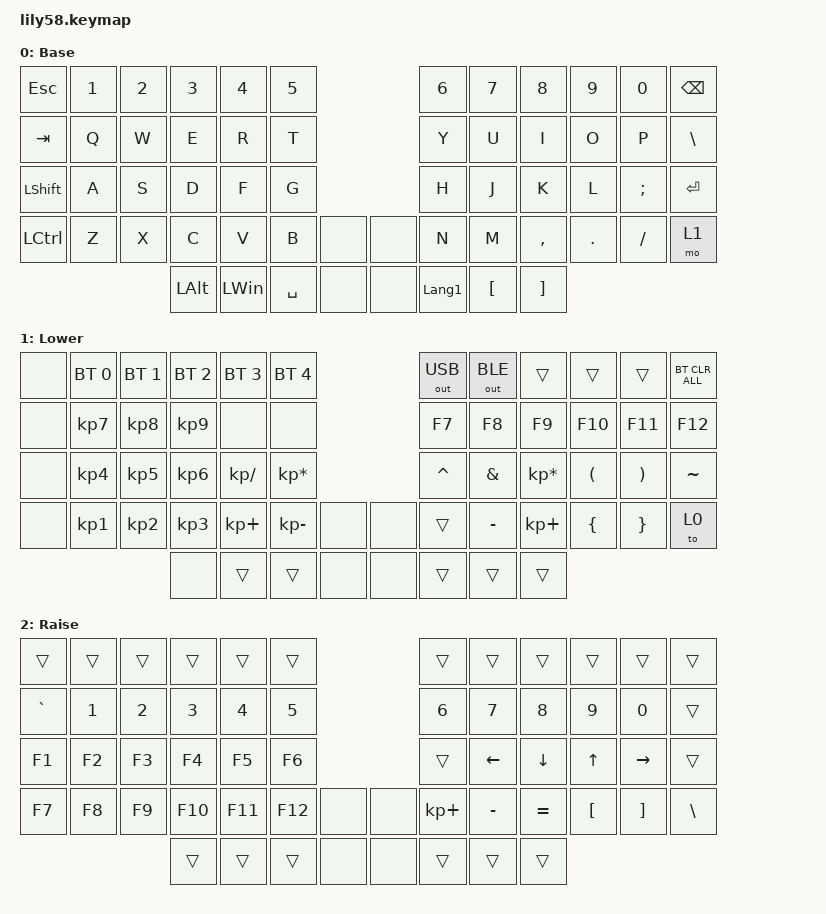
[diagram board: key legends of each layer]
/*
 * Copyright (c) 2020 The ZMK Contributors
 *
 * SPDX-License-Identifier: MIT
 */

#include <behaviors.dtsi>
#include <dt-bindings/zmk/bt.h>
#include <dt-bindings/zmk/keys.h>
#include <dt-bindings/zmk/outputs.h>

/ {
    keymap {
        compatible = "zmk,keymap";

        default_layer {
            // ------------------------------------------------------------------------------------------------------------
            // |  ESC  |  1  |  2  |  3   |  4   |  5   |                   |  6   |  7    |  8    |  9   |   0   |   `   |
            // |  TAB  |  Q  |  W  |  E   |  R   |  T   |                   |  Y   |  U    |  I    |  O   |   P   |   -   |
            // |  CTRL |  A  |  S  |  D   |  F   |  G   |                   |  H   |  J    |  K    |  L   |   ;   |   '   |
            // | SHIFT |  Z  |  X  |  C   |  V   |  B   |  n/a   |  |  n/a  |  N   |  M    |  ,    |  .   |   /   | SHIFT |
            //                     | GUI  | LOWER| SPACE|  n/a   |  |  n/a  | ENTER| RAISE | BSPC  |
            // Note: Silakka54 has 54 keys - the 4 positions marked n/a are not present (inner thumb + encoder positions)

            display-name = "Base";
            bindings = <
&kp ESC           &kp N1  &kp N2  &kp N3        &kp N4        &kp N5                     &kp N6          &kp N7            &kp N8             &kp N9   &kp N0    &kp BACKSPACE
&kp TAB           &kp Q   &kp W   &kp E         &kp R         &kp T                      &kp Y           &kp U             &kp I              &kp O    &kp P     &kp BACKSLASH
&kp LEFT_SHIFT    &kp A   &kp S   &kp D         &kp F         &kp G                      &kp H           &kp J             &kp K              &kp L    &kp SEMI  &kp ENTER
&kp LEFT_CONTROL  &kp Z   &kp X   &kp C         &kp V         &kp B      &none    &none  &kp N           &kp M             &kp COMMA          &kp DOT  &kp FSLH  &mo 1
                                  &kp LEFT_ALT  &kp LEFT_WIN  &kp SPACE  &none    &none  &kp LANGUAGE_1  &kp LEFT_BRACKET  &kp RIGHT_BRACKET
            >;
        };

        KeyPad {
            // ------------------------------------------------------------------------------------------------------------
            // | BTCLR | BT1 | BT2 |  BT3 |  BT4 |  BT5 |                   | USB  | BLE   |       |      |       |BTCLRALL|
            // |  F1   |  F2 |  F3 |  F4  |  F5  |  F6  |                   |  F7  |  F8   |  F9   |  F10 |  F11  |  F12  |
            // |   `   |  !  |  @  |  #   |  $   |  %   |                   |  ^   |  &    |  *    |  (   |   )   |   ~   |
            // |       |     |     |      |      |      |  n/a   |  |  n/a  |      |  _    |  +    |  {   |   }   |  "|"  |
            //                     |      |      |      |  n/a   |  |  n/a  |      |       |       |

            display-name = "Lower";
            bindings = <
&none  &bt BT_SEL 0     &bt BT_SEL 1     &bt BT_SEL 2     &bt BT_SEL 3   &bt BT_SEL 4                     &out OUT_USB  &out OUT_BLE  &trans           &trans    &trans    &bt BT_CLR_ALL
&none  &kp KP_NUMBER_7  &kp KP_NUMBER_8  &kp KP_NUMBER_9  &none          &none                            &kp F7        &kp F8        &kp F9           &kp F10   &kp F11   &kp F12
&none  &kp KP_NUMBER_4  &kp KP_NUMBER_5  &kp KP_NUMBER_6  &kp KP_DIVIDE  &kp KP_MULTIPLY                  &kp CARET     &kp AMPS      &kp KP_MULTIPLY  &kp LPAR  &kp RPAR  &kp TILDE
&none  &kp KP_NUMBER_1  &kp KP_NUMBER_2  &kp KP_NUMBER_3  &kp KP_PLUS    &kp KP_MINUS     &none    &none  &trans        &kp MINUS     &kp KP_PLUS      &kp LBRC  &kp RBRC  &to 0
                                         &none            &trans         &trans           &none    &none  &trans        &trans        &trans
            >;
        };

        None {
            // ------------------------------------------------------------------------------------------------------------
            // |       |     |     |      |      |      |                   |      |       |       |      |       |       |
            // |   `   |  1  |  2  |  3   |  4   |  5   |                   |  6   |   7   |   8   |  9   |   0   |       |
            // |   F1  |  F2 |  F3 |  F4  |  F5  |  F6  |                   |      |   <-  |   v   |  ^   |  ->   |       |
            // |   F7  |  F8 |  F9 |  F10 |  F11 |  F12 |  n/a   |  |  n/a  |  +   |   -   |   =   |  [   |   ]   |   \   |
            //                     |      |      |      |  n/a   |  |  n/a  |      |       |       |

            display-name = "Raise";
            bindings = <
&trans     &trans  &trans  &trans   &trans   &trans                   &trans       &trans     &trans     &trans    &trans     &trans
&kp GRAVE  &kp N1  &kp N2  &kp N3   &kp N4   &kp N5                   &kp N6       &kp N7     &kp N8     &kp N9    &kp N0     &trans
&kp F1     &kp F2  &kp F3  &kp F4   &kp F5   &kp F6                   &trans       &kp LEFT   &kp DOWN   &kp UP    &kp RIGHT  &trans
&kp F7     &kp F8  &kp F9  &kp F10  &kp F11  &kp F12  &none    &none  &kp KP_PLUS  &kp MINUS  &kp EQUAL  &kp LBKT  &kp RBKT   &kp BSLH
                           &trans   &trans   &trans   &none    &none  &trans       &trans     &trans
            >;
        };

        extra_1 { status = "reserved"; };

        extra_2 { status = "reserved"; };

        extra_3 { status = "reserved"; };
    };
};
